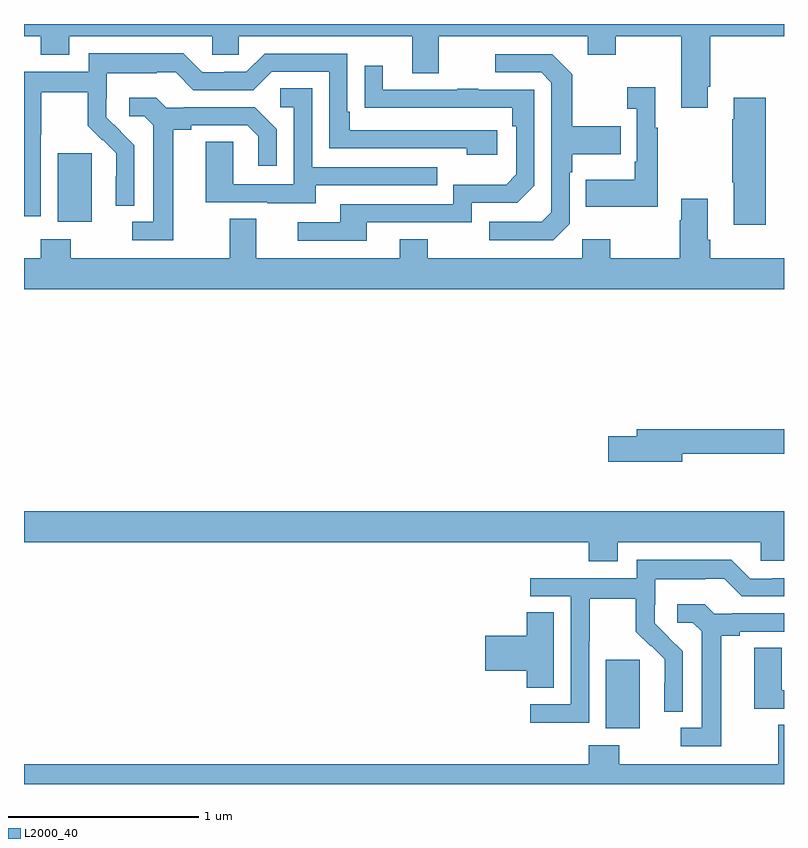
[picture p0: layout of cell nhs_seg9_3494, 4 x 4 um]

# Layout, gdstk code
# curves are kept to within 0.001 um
import gdstk
lib = gdstk.Library(unit=1e-6, precision=1e-09)
def R(c, l, rs):  # rectangles x0, y0, x1, y1
    for r in rs: c.add(gdstk.rectangle(r[:2], r[2:], *l))
def P(c, l, *ps):  # polygons
    for p in ps: c.add(gdstk.Polygon(p, *l))
L2000_40 = (2000, 40)

nhs_seg9_3494 = lib.new_cell('nhs_seg9_3494')
R(nhs_seg9_3494, L2000_40, [(314.063,1176.794,314.242,1177.155), (311.177,1179.458,311.356,1179.819)])
P(nhs_seg9_3494, L2000_40, [(314.599,1180.171),(314.612,1180.171),(314.612,1180.436),(315,1180.436),(315,1180.5),(311,1180.5),(311,1180.436),(311.087,1180.436),(311.087,1180.337),(311.239,1180.337),(311.239,1180.436),(311.991,1180.436),(311.991,1180.338),(312.129,1180.338),(312.129,1180.436),(313.043,1180.436),(313.043,1180.242),(313.183,1180.242),(313.183,1180.436),(313.967,1180.436),(313.967,1180.337),(314.115,1180.337),(314.115,1180.436),(314.459,1180.436),(314.459,1180.059),(314.599,1180.059)],
  [(311.088,1179.916),(311.091,1179.916),(311.091,1180.14),(311.335,1180.14),(311.335,1179.965),(311.412,1179.888),(311.415,1179.891),(311.486,1179.821),(311.486,1179.698),(311.484,1179.698),(311.484,1179.544),(311.58,1179.544),(311.58,1179.862),(311.434,1180.01),(311.434,1180.107),(311.436,1180.107),(311.436,1180.241),(311.699,1180.241),(311.699,1180.245),(311.799,1180.245),(311.892,1180.152),(312.207,1180.152),(312.303,1180.248),(312.606,1180.248),(312.606,1179.846),(313.331,1179.846),(313.331,1179.812),(313.492,1179.812),(313.492,1179.942),(312.715,1179.942),(312.715,1180.039),(312.702,1180.039),(312.702,1180.344),(312.267,1180.344),(312.171,1180.248),(312.053,1180.248),(312.053,1180.245),(311.937,1180.245),(311.837,1180.345),(311.34,1180.345),(311.34,1180.248),(311,1180.248),(311,1179.487),(311.088,1179.487)],
  [(313.872,1179.45),(313.872,1179.719),(313.885,1179.719),(313.885,1179.815),(314.141,1179.815),(314.141,1179.963),(313.885,1179.963),(313.885,1180.235),(313.779,1180.341),(313.479,1180.341),(313.479,1180.245),(313.722,1180.245),(313.776,1180.191),(313.776,1179.51),(313.725,1179.459),(313.449,1179.459),(313.449,1179.363),(313.785,1179.363)],
  [(312.805,1179.456),(313.356,1179.456),(313.356,1179.558),(313.596,1179.558),(313.686,1179.648),(313.686,1180.155),(313.391,1180.155),(313.391,1180.16),(313.279,1180.16),(313.279,1180.155),(312.889,1180.155),(312.889,1180.279),(312.793,1180.279),(312.793,1180.06),(313.57,1180.059),(313.57,1179.962),(313.59,1179.962),(313.59,1179.708),(313.537,1179.655),(313.26,1179.655),(313.26,1179.552),(312.665,1179.552),(312.665,1179.456),(312.441,1179.456),(312.441,1179.36),(312.805,1179.36)],
  [(314.335,1179.955),(314.323,1179.955),(314.323,1180.168),(314.175,1180.168),(314.175,1180.055),(314.226,1180.055),(314.226,1179.775),(314.214,1179.775),(314.214,1179.679),(313.957,1179.679),(313.957,1179.539),(314.335,1179.539)],
  [(312.535,1179.651),(313.175,1179.651),(313.175,1179.747),(312.516,1179.747),(312.516,1180.163),(312.348,1180.163),(312.348,1180.062),(312.42,1180.062),(312.42,1179.657),(312.102,1179.657),(312.102,1179.881),(311.957,1179.881),(311.957,1179.561),(312.281,1179.561),(312.281,1179.557),(312.535,1179.557)],
  [(314.903,1180.111),(314.735,1180.111),(314.735,1179.998),(314.728,1179.998),(314.728,1179.667),(314.735,1179.667),(314.735,1179.444),(314.903,1179.444)],
  [(311.785,1179.944),(311.881,1179.944),(311.881,1179.966),(312.176,1179.966),(312.233,1179.909),(312.233,1179.753),(312.33,1179.753),(312.33,1179.946),(312.214,1180.062),(311.842,1180.062),(311.842,1180.059),(311.748,1180.059),(311.696,1180.111),(311.553,1180.111),(311.553,1180.014),(311.634,1180.014),(311.681,1179.967),(311.681,1179.459),(311.571,1179.459),(311.571,1179.363),(311.785,1179.363)],
  [(315,1179.268),(314.612,1179.268),(314.612,1179.364),(314.599,1179.364),(314.599,1179.58),(314.459,1179.58),(314.459,1179.467),(314.452,1179.467),(314.452,1179.268),(314.085,1179.268),(314.085,1179.367),(313.938,1179.367),(313.938,1179.268),(313.125,1179.268),(313.125,1179.367),(312.977,1179.367),(312.977,1179.268),(312.223,1179.268),(312.223,1179.476),(312.083,1179.476),(312.083,1179.268),(311.247,1179.268),(311.247,1179.367),(311.087,1179.367),(311.087,1179.268),(311,1179.268),(311,1179.104),(315,1179.104)],
  [(314.464,1178.238),(315,1178.238),(315,1178.366),(314.225,1178.366),(314.225,1178.33),(314.076,1178.33),(314.076,1178.195),(314.464,1178.195)],
  [(311,1177.772),(313.973,1177.772),(313.973,1177.673),(314.125,1177.673),(314.125,1177.772),(314.877,1177.772),(314.877,1177.674),(315,1177.674),(315,1177.936),(311,1177.936)],
  [(313.974,1177.252),(313.977,1177.252),(313.977,1177.476),(314.221,1177.476),(314.221,1177.301),(314.298,1177.224),(314.301,1177.227),(314.372,1177.157),(314.372,1177.034),(314.37,1177.034),(314.37,1176.88),(314.466,1176.88),(314.466,1177.198),(314.32,1177.346),(314.32,1177.443),(314.322,1177.443),(314.322,1177.577),(314.585,1177.577),(314.585,1177.581),(314.685,1177.581),(314.778,1177.488),(315,1177.488),(315,1177.584),(314.939,1177.584),(314.939,1177.581),(314.823,1177.581),(314.723,1177.681),(314.226,1177.681),(314.226,1177.584),(313.665,1177.584),(313.665,1177.488),(313.878,1177.488),(313.878,1176.921),(313.665,1176.921),(313.665,1176.823),(313.974,1176.823)],
  [(314.671,1177.28),(314.767,1177.28),(314.767,1177.302),(315,1177.302),(315,1177.398),(314.728,1177.398),(314.728,1177.395),(314.634,1177.395),(314.582,1177.447),(314.439,1177.447),(314.439,1177.35),(314.52,1177.35),(314.567,1177.303),(314.567,1176.795),(314.457,1176.795),(314.457,1176.699),(314.671,1176.699)],
  [(313.789,1177.403),(313.646,1177.403),(313.646,1177.28),(313.428,1177.28),(313.428,1177.097),(313.646,1177.097),(313.646,1177.006),(313.789,1177.006)],
  [(315,1176.993),(314.988,1176.993),(314.988,1177.217),(314.843,1177.217),(314.843,1176.897),(315,1176.897)],
  [(315,1176.812),(314.969,1176.812),(314.969,1176.604),(314.133,1176.604),(314.133,1176.703),(313.973,1176.703),(313.973,1176.604),(311,1176.604),(311,1176.5),(315,1176.5)])

lib.write_gds('nhs_seg9_3494.gds')
